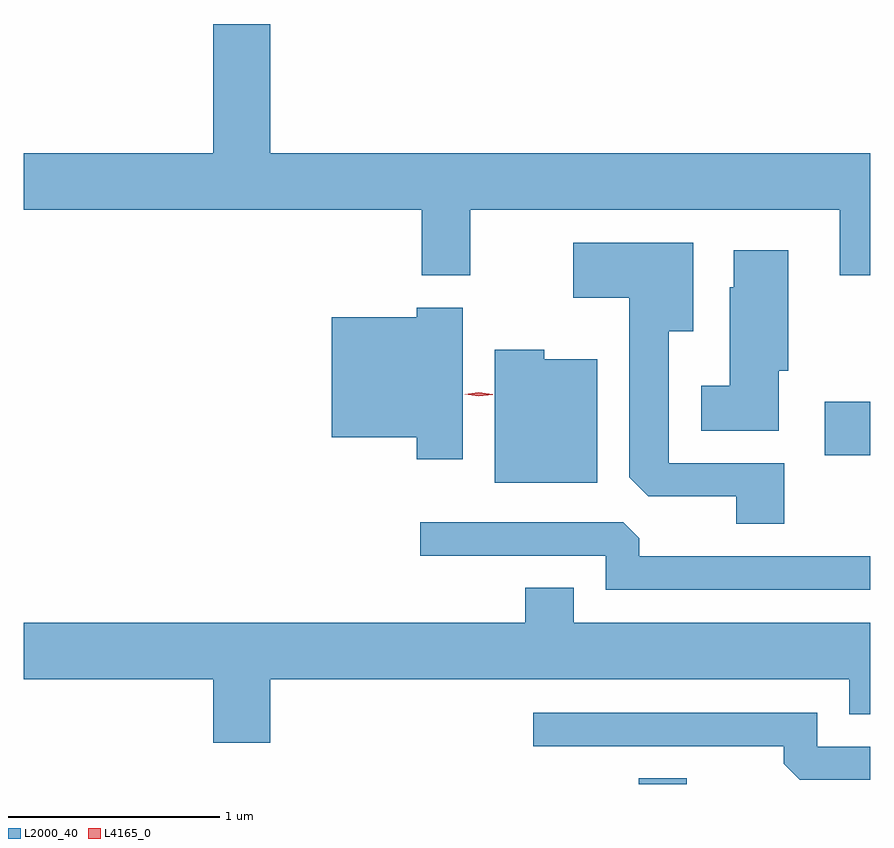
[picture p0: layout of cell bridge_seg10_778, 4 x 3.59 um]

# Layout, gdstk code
import gdstk
lib = gdstk.Library(unit=1e-6, precision=1e-09)
def R(c, l, rs):  # rectangles x0, y0, x1, y1
    for r in rs: c.add(gdstk.rectangle(r[:2], r[2:], *l))
def P(c, l, *ps):  # polygons
    for p in ps: c.add(gdstk.Polygon(p, *l))
L2000_40 = (2000, 40)
L4165_0 = (4165, 0)

bridge_seg10_778 = lib.new_cell('bridge_seg10_778')
R(bridge_seg10_778, L2000_40, [(436.866,2093.442,437.094,2093.469), (437.746,2094.996,437.96,2095.249)])
P(bridge_seg10_778, L2000_40, [(435.124,2097.034),(434.856,2097.034),(434.856,2096.424),(433.96,2096.424),(433.96,2096.156),(435.841,2096.156),(435.841,2095.846),(436.069,2095.846),(436.069,2096.156),(437.816,2096.156),(437.816,2095.846),(437.96,2095.846),(437.96,2096.424),(435.124,2096.424)],
  [(437.554,2094.959),(437.009,2094.959),(437.009,2095.581),(437.124,2095.581),(437.124,2095.999),(436.556,2095.999),(436.556,2095.741),(436.821,2095.741),(436.821,2094.892),(436.912,2094.801),(437.326,2094.801),(437.326,2094.671),(437.554,2094.671)],
  [(437.529,2095.396),(437.574,2095.396),(437.574,2095.964),(437.316,2095.964),(437.316,2095.789),(437.296,2095.789),(437.296,2095.324),(437.161,2095.324),(437.161,2095.111),(437.529,2095.111)],
  [(436.034,2095.694),(435.816,2095.694),(435.816,2095.649),(435.416,2095.649),(435.416,2095.081),(435.816,2095.081),(435.816,2094.976),(436.034,2094.976)],
  [(436.669,2095.449),(436.419,2095.449),(436.419,2095.494),(436.186,2095.494),(436.186,2094.866),(436.669,2094.866)],
  [(437.96,2094.519),(436.869,2094.519),(436.869,2094.604),(436.794,2094.679),(435.833,2094.679),(435.833,2094.521),(436.711,2094.521),(436.711,2094.361),(437.96,2094.361)],
  [(435.124,2093.936),(437.861,2093.936),(437.861,2093.771),(437.96,2093.771),(437.96,2094.204),(436.559,2094.204),(436.559,2094.369),(436.331,2094.369),(436.331,2094.204),(433.96,2094.204),(433.96,2093.936),(434.856,2093.936),(434.856,2093.636),(435.124,2093.636)],
  [(437.96,2093.619),(437.709,2093.619),(437.709,2093.779),(436.368,2093.779),(436.368,2093.621),(437.551,2093.621),(437.551,2093.537),(437.627,2093.461),(437.96,2093.461)])
P(bridge_seg10_778, L4165_0, [(436.11,2095.274),(436.044,2095.284),(436.044,2095.284),(436.044,2095.285),(436.111,2095.293),(436.176,2095.283),(436.177,2095.282),(436.176,2095.282)])

lib.write_gds('bridge_seg10_778.gds')
